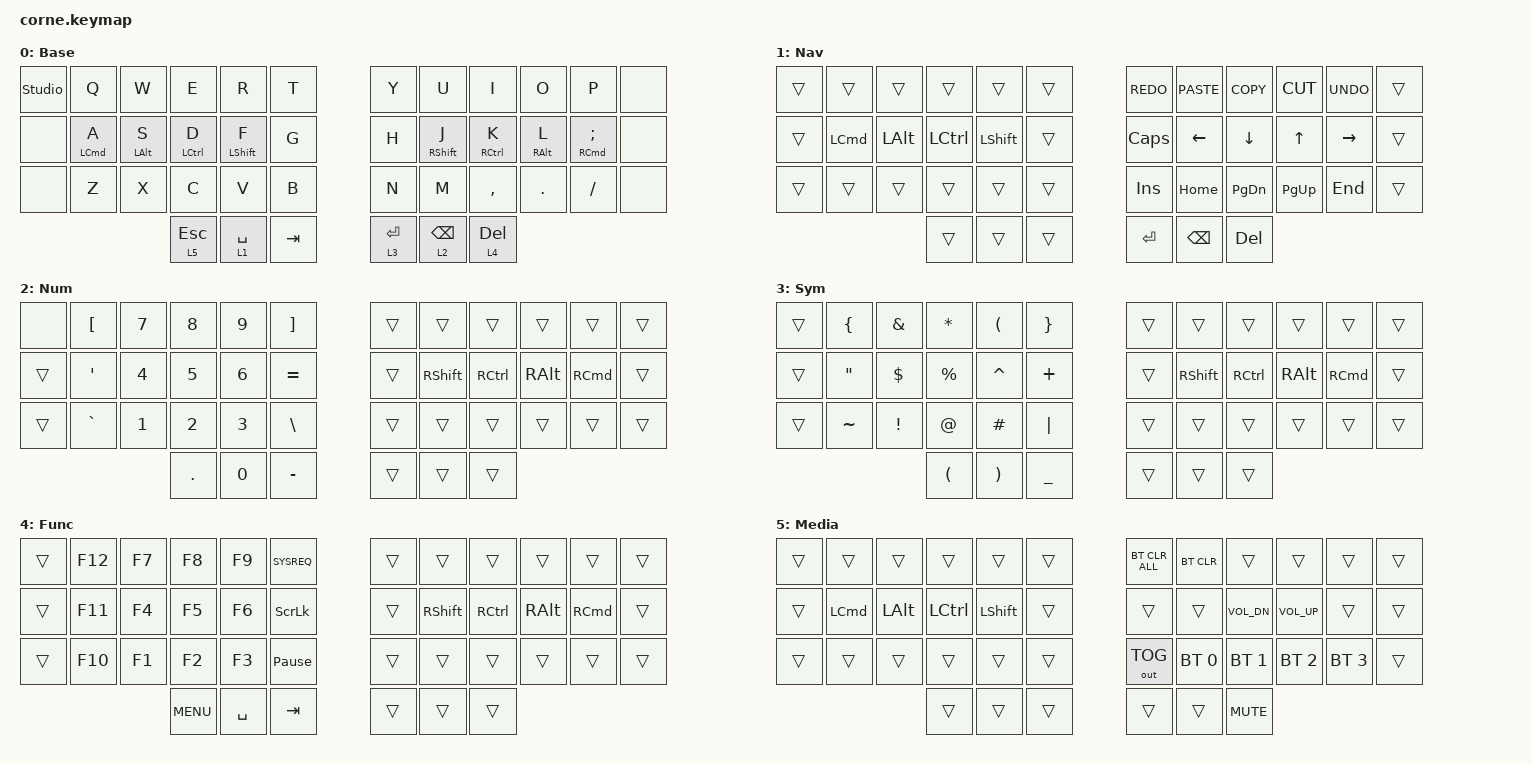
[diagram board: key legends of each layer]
#include <behaviors.dtsi>
#include <dt-bindings/zmk/bt.h>
#include <dt-bindings/zmk/keys.h>
#include <dt-bindings/zmk/outputs.h>

#define DEF 0
#define NAV 1
#define SYM 2
#define ADJ 3

/ {
    behaviors {
        hm: homerow_mods {
            compatible = "zmk,behavior-hold-tap";
            label = "HOMEROW_MODS";
            #binding-cells = <2>;
            tapping-term-ms = <200>;
            quick_tap_ms = <0>;
            flavor = "tap-preferred";
            bindings = <&kp>, <&kp>;

            quick-tap-ms = <180>;
            global-quick-tap;
        };

        para: para {
            compatible = "zmk,behavior-tap-dance";
            label = "PARA";
            #binding-cells = <0>;
            bindings = <&kp LEFT_PARENTHESIS>, <&kp RIGHT_PARENTHESIS>;
        };

        caps: caps {
            compatible = "zmk,behavior-caps-word";
            label = "CAPS";
            #binding-cells = <0>;
            continue-list = <MINUS BACKSPACE>;
        };

        paraless: paraless {
            compatible = "zmk,behavior-mod-morph";
            label = "PARALESS";
            bindings = <&kp LEFT_PARENTHESIS>, <&kp LESS_THAN>;

            #binding-cells = <0>;
            mods = <(MOD_LSFT)>;
        };

        paragreat: paragreat {
            compatible = "zmk,behavior-mod-morph";
            label = "PARAGREAT";
            bindings = <&kp RIGHT_PARENTHESIS>, <&kp GREATER_THAN>;

            #binding-cells = <0>;
            mods = <(MOD_LSFT)>;
        };

        td_shift_capsword: td_shift_capsword {
            compatible = "zmk,behavior-tap-dance";
            label = "TD_SHIFT_CAPSWORD";
            #binding-cells = <0>;
            bindings = <&kp LSHFT>, <&caps>;
        };

        lt_rpi: lt_rpi {
            compatible = "zmk,behavior-hold-tap";
            label = "LT_RPI";
            #binding-cells = <2>;
            tapping-term-ms = <200>;
            quick-tap-ms = <175>;
            require-prior-idle-ms = <125>;
            flavor = "tap-preferred";
            bindings = <&mo>, <&kp>;
        };
    };

    macros {
        browsertab: browsertab {
            compatible = "zmk,behavior-macro";
            #binding-cells = <0>;
            bindings =
                <&macro_press>,
                <&kp LCTRL>,
                <&macro_tap>,
                <&kp TAB>,
                <&macro_release>,
                <&kp LCTRL>;
        };
    };

    combos {
        compatible = "zmk,combos";

        delete {
            bindings = <&kp DELETE>;
            key-positions = <15 21>;
        };

        copy {
            bindings = <&kp K_COPY>;
            key-positions = <28 27>;
        };

        paste {
            bindings = <&kp K_PASTE>;
            key-positions = <26 27>;
        };

        leftbrack {
            bindings = <&kp LEFT_BRACKET>;
            key-positions = <31 32>;
        };

        rightbrack {
            bindings = <&kp RIGHT_BRACKET>;
            key-positions = <33 32>;
        };

        para-less {
            bindings = <&paraless>;
            key-positions = <20 19>;
        };

        para-great {
            bindings = <&paragreat>;
            key-positions = <20 21>;
        };
    };

    //

    keymap {
        compatible = "zmk,keymap";

        DEF {
            display-name = "Base";

            // -----------------------------------------------------------------------------------------
            // |  Q  |  W  |  E  |  R  |  T  |   |  Y  |  U   |  I  |  O  |  P  |
            // |  A  |  S  |  D  |  F  |  G  |   |  H  |  J   |  K  |  L  |  ;  |
            // |  Z  |  X  |  C  |  V  |  B  |   |  N  |  M   |  ,  |  .  |  /  |
            // | GUI | CTRL | SHFT | LWR | SPC |   | ENT | RSE  | BKSP | ALT | ESC |

            bindings = <
&studio_unlock  &kp Q       &kp W       &kp E        &kp R        &kp T      &kp Y        &kp U            &kp I         &kp O       &kp P               &none
&none  &hm LCMD A  &hm LALT S  &hm LCTRL D  &hm LSHFT F  &kp G      &kp H        &hm RSHFT J      &hm RCTRL K   &hm RALT L  &hm RCMD SEMICOLON  &none
&none  &kp Z       &kp X       &kp C        &kp V        &kp B      &kp N        &kp M            &kp COMMA     &kp DOT     &kp FSLH            &none
                               &lt 5 ESC    &lt 1 SPACE  &kp TAB    &lt 3 ENTER  &lt 2 BACKSPACE  &lt 4 DELETE
            >;
        };

        NAV {
            display-name = "Nav";

            // -----------------------------------------------------------------------------------------
            // |  TAB |  1  |  2  |  3  |  4  |  5  |   |  6  |  7  |  8  |  9  |  0  | BKSP |
            // | BTCLR| BT1 | BT2 | BT3 | BT4 | BT5 |   | LFT | DWN |  UP | RGT |     |      |
            // | SHFT |     |     |     |     |     |   |     |     |     |     |     |      |
            // | GUI | CTRL | SHFT | LWR | SPC |   | ENT | RSE  | BKSP | ALT | ESC |

            bindings = <
&trans  &trans    &trans    &trans     &trans     &trans    &kp K_REDO    &kp K_PASTE    &kp K_COPY  &kp K_CUT  &kp K_UNDO  &trans
&trans  &kp LCMD  &kp LALT  &kp LCTRL  &kp LSHFT  &trans    &kp CAPSLOCK  &kp LEFT       &kp DOWN    &kp UP     &kp RIGHT   &trans
&trans  &trans    &trans    &trans     &trans     &trans    &kp INS       &kp HOME       &kp PG_DN   &kp PG_UP  &kp END     &trans
                            &trans     &trans     &trans    &kp ENTER     &kp BACKSPACE  &kp DELETE
            >;
        };

        NUM {
            display-name = "Num";

            // -----------------------------------------------------------------------------------------
            // |  TAB |  !  |  @  |  #  |  $  |  %  |   |  ^  |  &  |  *  |  (  |  )  | BKSP |
            // | CTRL |     |     |     |     |     |   |  -  |  =  |  [  |  ]  |  \  |  `   |
            // | SHFT |     |     |     |     |     |   |  _  |  +  |  {  |  }  | "|" |  ~   |
            //                    | GUI |     | SPC |   | ENT |     | ALT |

            bindings = <
&none   &kp LBKT   &kp N7  &kp N8   &kp N9  &kp RBKT         &trans  &trans     &trans     &trans    &trans    &trans
&trans  &kp SQT    &kp N4  &kp N5   &kp N6  &kp EQUAL        &trans  &kp RSHFT  &kp RCTRL  &kp RALT  &kp RCMD  &trans
&trans  &kp GRAVE  &kp N1  &kp N2   &kp N3  &kp BACKSLASH    &trans  &trans     &trans     &trans    &trans    &trans
                           &kp DOT  &kp N0  &kp MINUS        &trans  &trans     &trans
            >;
        };

        SYM {
            display-name = "Sym";
            bindings = <
&trans  &kp LBRC   &kp AMPERSAND    &kp ASTERISK  &kp LPAR   &kp RBRC          &trans  &trans     &trans     &trans    &trans    &trans
&trans  &kp DQT    &kp DOLLAR       &kp PERCENT   &kp CARET  &kp PLUS          &trans  &kp RSHFT  &kp RCTRL  &kp RALT  &kp RCMD  &trans
&trans  &kp TILDE  &kp EXCLAMATION  &kp AT        &kp HASH   &kp PIPE          &trans  &trans     &trans     &trans    &trans    &trans
                                    &kp LPAR      &kp RPAR   &kp UNDERSCORE    &trans  &trans     &trans
            >;
        };

        FUN {
            bindings = <
&trans  &kp F12  &kp F7  &kp F8      &kp F9     &kp SYSREQ         &trans  &trans     &trans     &trans    &trans    &trans
&trans  &kp F11  &kp F4  &kp F5      &kp F6     &kp SCROLLLOCK     &trans  &kp RSHFT  &kp RCTRL  &kp RALT  &kp RCMD  &trans
&trans  &kp F10  &kp F1  &kp F2      &kp F3     &kp PAUSE_BREAK    &trans  &trans     &trans     &trans    &trans    &trans
                         &kp K_MENU  &kp SPACE  &kp TAB            &trans  &trans     &trans
            >;

            label = "Func";
        };

        MED {
            bindings = <
&trans  &trans    &trans    &trans     &trans     &trans    &bt BT_CLR_ALL  &bt BT_CLR    &trans        &trans        &trans        &trans
&trans  &kp LCMD  &kp LALT  &kp LCTRL  &kp LSHFT  &trans    &trans          &trans        &kp C_VOL_DN  &kp C_VOL_UP  &trans        &trans
&trans  &trans    &trans    &trans     &trans     &trans    &out OUT_TOG    &bt BT_SEL 0  &bt BT_SEL 1  &bt BT_SEL 2  &bt BT_SEL 3  &trans
                            &trans     &trans     &trans    &trans          &trans        &kp K_MUTE
            >;

            label = "Media";
        };
    };

    conditional_layers { compatible = "zmk,conditional-layers"; };
};
